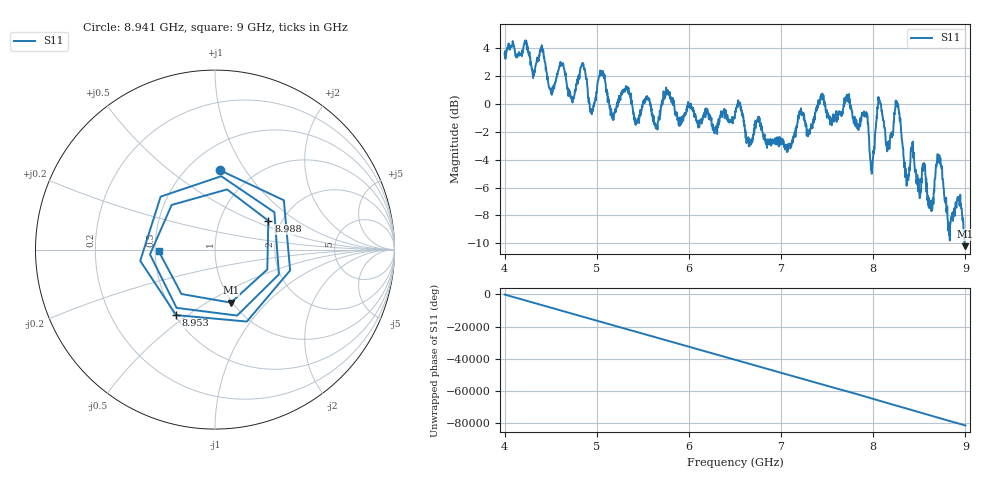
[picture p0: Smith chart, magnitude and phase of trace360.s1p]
! Created with skrf 1.8.0 (http://scikit-rf.org).
# Hz S RI R 50.0
!freq ReS11 ImS11
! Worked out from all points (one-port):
!   1601 points, 4 GHz to 9 GHz, reference 50 ohm
!   lowest |S11| = -10.2 dB at 8.994 GHz (marker M1), VSWR 1.89, Z = 49.3 - j32.2 ohm
!   |S11| at or under -10 dB: 8.990467 GHz to end of sweep
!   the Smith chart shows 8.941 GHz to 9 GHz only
!   S11 on the Smith chart (normalised r, x): 8.941 GHz: 0.71, +0.78; 8.953 GHz: 0.51, -0.45; 8.988 GHz: 1.70, +0.62; 9 GHz: 0.52, -0.01
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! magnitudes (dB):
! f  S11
! 4 GHz  3.6
! 4.406 GHz  4.0
! 4.506 GHz  0.8
! 4.625 GHz  2.8
! 4.734 GHz  0.2
! 4.853 GHz  2.9
! 4.944 GHz  -0.4
! 5.047 GHz  2.1
! 5.25 GHz  0.4
! 5.875 GHz  -1.1
! 6.5 GHz  -0.7
! 7.125 GHz  -2.8
! 7.75 GHz  -0.3
! 7.922 GHz  -0.6
! 7.984 GHz  -5.0
! 8.062 GHz  0.4
! 8.159 GHz  -3.2
! 8.259 GHz  0.0
! 8.375 GHz  -5.2
! 8.425 GHz  -2.8
! 8.622 GHz  -7.3
! 8.716 GHz  -3.7
! 8.819 GHz  -8.6
! 8.941 GHz  -7.1
! 8.953 GHz  -7.4
! 8.988 GHz  -9.4
! 8.994 GHz  -10.2
! 9 GHz  -10.1
